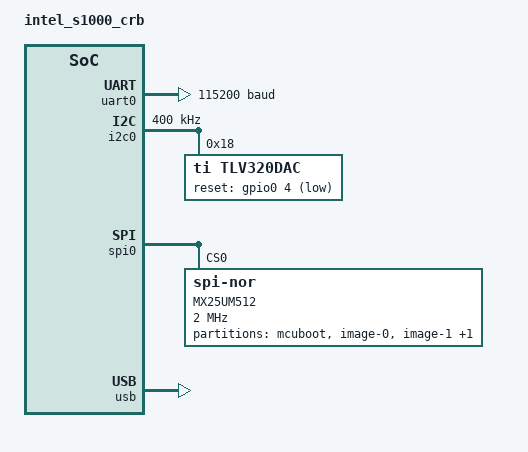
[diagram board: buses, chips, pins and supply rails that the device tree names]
/* SPDX-License-Identifier: Apache-2.0 */

/dts-v1/;

#include <intel/intel_s1000.dtsi>

/ {
	model = "intel_s1000_crb";
	compatible = "intel,s1000";

	aliases {
		uart-0 = &uart0;
	};

	chosen {
		zephyr,sram = &sram0;
		zephyr,console = &uart0;
		zephyr,shell-uart = &uart0;
		zephyr,flash = &flash0;
		zephyr,flash-controller = &flash0;
	};
};

&cpu0 {
	clock-frequency = <400000000>;
};

&cpu1 {
	clock-frequency = <400000000>;
};

&uart0 {
	status = "okay";
	current-speed = <115200>;
};

&i2c0 {
	status = "okay";
	clock-frequency = <I2C_BITRATE_FAST>;

	codec0: tlv320dac@18 {
		compatible = "ti,tlv320dac";
		reg = <0x18>;
		label = "TLV320DAC";
		reset-gpios = <&gpio0 4 GPIO_ACTIVE_LOW>;
	};
};

&spi0 {
	status = "okay";

	flash0: flash@0 {
		compatible = "jedec,spi-nor";
		reg = <0>;
		spi-max-frequency = <2000000>;
		label = "MX25UM512";
		jedec-id = [c2 80 3a];
		size = <0x2000000>;
	};
};

&flash0 {
	partitions {
		compatible = "fixed-partitions";
		#address-cells = <1>;
		#size-cells = <1>;

		/* The flash is 64MB in size. Each sector is 4kB and
		 * 16 sectors make a block (64kB). The flash is partitioned
		 * in terms of blocks.
		 */

		/* Reserve 192kB for the bootloader */
		boot_partition: partition@0 {
			label = "mcuboot";
			reg = <0x00000000 0x00030000>;
			read-only;
		};

		/* Reserve 1856kB for the application in slot 0 */
		slot0_partition: partition@30000 {
			label = "image-0";
			reg = <0x00030000 0x001D0000>;
		};

		/* Reserve 1856kB for the application in slot 1 */
		slot1_partition: partition@200000 {
			label = "image-1";
			reg = <0x00200000 0x001D0000>;
		};

		/* Reserve 192kB for the scratch partition */
		scratch_partition: partition@3d0000 {
			label = "image-scratch";
			reg = <0x003d0000 0x00030000>;
		};
	};
};

&usb {
	status = "okay";
};
